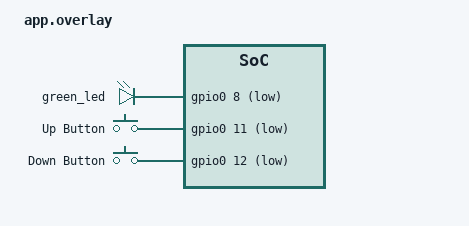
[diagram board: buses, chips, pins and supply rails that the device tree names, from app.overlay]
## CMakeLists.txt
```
# Copyright (c) 2026 Nordic Semiconductor ASA
# SPDX-License-Identifier: LicenseRef-Nordic-5-Clause

cmake_minimum_required(VERSION 3.20.0)

find_package(Zephyr REQUIRED HINTS $ENV{ZEPHYR_BASE})
project(HAOS_Button)

# Use your local main.c instead of the sample's directory
target_sources(app PRIVATE src/main.c)
```

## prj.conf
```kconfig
# Enable Bluetooth
CONFIG_BT=y
CONFIG_BT_PERIPHERAL=y
CONFIG_BT_DEVICE_NAME="HAOS_Button"

# Enable Logging
CONFIG_LOG=y
CONFIG_LOG_BACKEND_SWO=y
CONFIG_LOG_BACKEND_SWO_FREQ_HZ=2000000

# GPIO support
CONFIG_GPIO=y
```

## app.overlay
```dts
/ {
    aliases {
        led0 = &green_led;
        sw0 = &button_up;
        sw1 = &button_down;
    };

    leds {
        compatible = "gpio-leds";
        green_led: led_0 {
            gpios = <&gpio0 8 GPIO_ACTIVE_LOW>;
        };
    };

    buttons {
        compatible = "gpio-keys";
        button_up: button_up {
            /* P0.11: Pull-up activated, active when shorted to GND */
            gpios = <&gpio0 11 (GPIO_PULL_UP | GPIO_ACTIVE_LOW)>;
            label = "Up Button";
        };
        button_down: button_down {
            /* P0.12: Pull-up activated, active when shorted to GND */
            gpios = <&gpio0 12 (GPIO_PULL_UP | GPIO_ACTIVE_LOW)>;
            label = "Down Button";
        };
    };
};
```

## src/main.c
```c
#include <zephyr/kernel.h>
#include <zephyr/drivers/gpio.h>
#include <zephyr/logging/log.h>
#include <zephyr/bluetooth/bluetooth.h>

LOG_MODULE_REGISTER(haos_app, LOG_LEVEL_INF);

static const struct gpio_dt_spec led = GPIO_DT_SPEC_GET(DT_ALIAS(led0), gpios);
static const struct gpio_dt_spec btn_up = GPIO_DT_SPEC_GET(DT_ALIAS(sw0), gpios);
static const struct gpio_dt_spec btn_dn = GPIO_DT_SPEC_GET(DT_ALIAS(sw1), gpios);

/* Sends BTHome v2 packet for button events (Object ID 0x3A) */
void send_bthome_event(uint8_t event_id) {
    static uint8_t packet_id = 0;
    
    struct bt_data ad[] = {
        BT_DATA_BYTES(BT_DATA_FLAGS, BT_LE_AD_GENERAL | BT_LE_AD_NO_BREDR),
        BT_DATA_BYTES(BT_DATA_UUID16_ALL, 0xD2, 0xFC), // BTHome Service UUID
        BT_DATA_BYTES(BT_DATA_SVC_DATA16, 
            0xD2, 0xFC, 
            0x40,       // Device Info: No encryption, V2
            0x3A,       // Object ID: Button event
            event_id    // Value: 0x01 (Press) or 0x02 (Double/Down example)
        )
    };

    bt_le_adv_start(BT_LE_ADV_NCONN, ad, ARRAY_SIZE(ad), NULL, 0);
    k_msleep(150); // Broadcast for 150ms to ensure HAOS hears it
    bt_le_adv_stop();
    LOG_INF("BLE Event 0x%02X sent (Packet %d)", event_id, ++packet_id);
}

int main(void) {
    if (!gpio_is_ready_dt(&led) || !gpio_is_ready_dt(&btn_up) || !gpio_is_ready_dt(&btn_dn)) {
        LOG_ERR("Hardware not ready");
        return 0;
    }

    gpio_pin_configure_dt(&led, GPIO_OUTPUT_ACTIVE);
    gpio_pin_configure_dt(&btn_up, GPIO_INPUT);
    gpio_pin_configure_dt(&btn_dn, GPIO_INPUT);

    if (bt_enable(NULL)) {
        LOG_ERR("Bluetooth failed");
        return 0;
    }

    LOG_INF("Dual Button Switch Ready - P0.11 (Up), P0.12 (Down)");

    while (1) {
        // Toggle LED to show system heartbeat
        gpio_pin_toggle_dt(&led);

        // Check Up Button (P0.11)
        if (gpio_pin_get_dt(&btn_up) == 1) {
            LOG_INF("UP Pressed");
            send_bthome_event(0x01); // Standard "Press"
            while(gpio_pin_get_dt(&btn_up) == 1) k_msleep(10); // Simple debounce
        }

        // Check Down Button (P0.12)
        if (gpio_pin_get_dt(&btn_dn) == 1) {
            LOG_INF("DOWN Pressed");
            send_bthome_event(0x02); // Sending 0x02 to distinguish from Up
            while(gpio_pin_get_dt(&btn_dn) == 1) k_msleep(10); // Simple debounce
        }

        k_msleep(250); // General polling interval
    }
}
```
